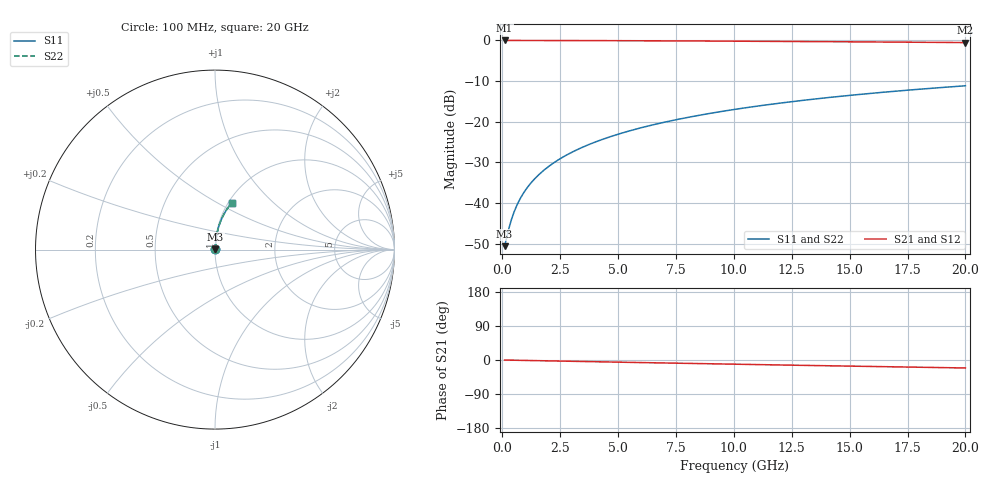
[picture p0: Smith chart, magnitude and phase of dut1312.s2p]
! Touchstone file exported from HFSS 2024.1.0
!  File:  C:/UserFiles/LocalFiles/RDL_TSV_Batchsim/temp_RDL_top_1312_1780364707.aedt
!  Generated:  09:47:32 AM Jun  2, 2026
!  Design:  RDL_top
!  Project:  temp_RDL_top_1312_1780364707
!  Setup:  Setup1
!  Solution:  Sweep
! Variables:
!  dtsv = 10.80580581um
!  hbump = 3um
!  htsv = 56.03um
!  ldown = 100um
!  lrdl = 222.76um
!  p = 40
!  p1 = 48.6um
!  rhole = 1um
!  t = 450um
!  tdown = 3.915915916um
!  trdl = 2.71um
!  wdown = 15.38538539um
!  wrdl = 12.24um
# GHz S MA R 50.000000
! Terminal data exported
! Port[1] = Box2_T1
! Port[2] = Box2_T2
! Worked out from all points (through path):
!   200 points, 100 MHz to 20 GHz, reference 50 ohm
!   highest |S21| = -0.02 dB at 100 MHz (marker M1); lowest = -0.5 dB at 20 GHz (marker M2)
!   group delay of S21, straight-line fit = 2.92 ps
!   lowest |S11| = -50.6 dB at 100 MHz (marker M3), VSWR 1.01, Z = 50.3 + j0.145 ohm
!   |S11| at or under -10 dB: start of sweep to end of sweep
!   |S22| runs from -50.6 to -11.2 dB; largest |S21 - S12| = 4.4e-15
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0.1  0.002955 29.3  0.9974 -0.1  0.9974 -0.1  0.002955 29.3
! Gamma 0 0 0 0
! Port Impedance 50 0 50 0
0.3  0.005063 58.5  0.9973 -0.4  0.9973 -0.4  0.005063 58.5
0.4  0.006339 64.8  0.9973 -0.5  0.9973 -0.5  0.006339 64.8
0.5  0.007658 69.0  0.9972 -0.6  0.9972 -0.6  0.007658 69.0
0.6  0.008996 71.8  0.9972 -0.7  0.9972 -0.7  0.008996 71.8
0.7  0.01035 73.9  0.9971 -0.8  0.9971 -0.8  0.01035 73.9
0.9  0.01306 76.8  0.997 -1.0  0.997 -1.0  0.01306 76.8
1.2  0.01716 79.4  0.9967 -1.4  0.9967 -1.4  0.01716 79.4
1.4  0.0199 80.5  0.9966 -1.6  0.9966 -1.6  0.0199 80.5
1.7  0.02403 81.7  0.9963 -2.0  0.9963 -2.0  0.02403 81.7
2.2  0.03095 82.9  0.9958 -2.5  0.9958 -2.5  0.03095 82.9
2.8  0.0393 83.5  0.9951 -3.2  0.9951 -3.2  0.0393 83.5
3.5  0.04909 83.8  0.9941 -4.0  0.9941 -4.0  0.04909 83.8
4.2  0.05893 83.8  0.9929 -4.8  0.9929 -4.8  0.05893 83.8
5  0.07022 83.6  0.9913 -5.7  0.9913 -5.7  0.07022 83.6
5.9  0.08298 83.2  0.9893 -6.7  0.9893 -6.7  0.08298 83.2
6.8  0.09577 82.6  0.9871 -7.7  0.9871 -7.7  0.09578 82.6
8.3  0.1171 81.5  0.9829 -9.3  0.9829 -9.3  0.1171 81.5
10.1  0.1427 80.0  0.9774 -11.2  0.9774 -11.2  0.1427 80.0
13.4  0.1889 76.8  0.9661 -14.6  0.9661 -14.6  0.1889 76.8
16.7  0.2336 73.6  0.9534 -17.9  0.9534 -17.9  0.2336 73.6
20  0.2765 70.4  0.9396 -21.1  0.9396 -21.1  0.2765 70.4
